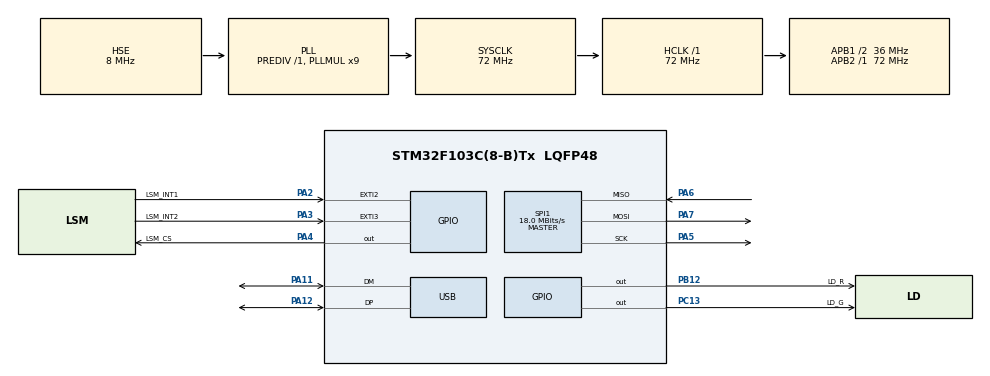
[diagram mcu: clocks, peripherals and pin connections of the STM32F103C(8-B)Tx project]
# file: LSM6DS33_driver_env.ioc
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Mcu.Family=STM32F1
Mcu.Name=STM32F103C(8-B)Tx
Mcu.Package=LQFP48
NVIC.EXTI2_IRQn=true\:0\:0\:false\:false\:true\:true
NVIC.EXTI3_IRQn=true\:0\:0\:false\:false\:true\:true
NVIC.PriorityGroup=NVIC_PRIORITYGROUP_4
NVIC.SPI1_IRQn=true\:0\:0\:false\:false\:true\:true
NVIC.USB_HP_CAN1_TX_IRQn=true\:0\:0\:false\:false\:true\:true
NVIC.USB_LP_CAN1_RX0_IRQn=true\:0\:0\:false\:false\:true\:false
PA11.Mode=Device
PA11.Signal=USB_DM
PA12.Mode=Device
PA12.Signal=USB_DP
PA13.Mode=Trace_Asynchronous_SW
PA13.Signal=SYS_JTMS-SWDIO
PA14.Mode=Trace_Asynchronous_SW
PA14.Signal=SYS_JTCK-SWCLK
PA2.GPIO_Label=LSM_INT1
PA2.Signal=GPXTI2
PA3.GPIO_Label=LSM_INT2
PA3.Signal=GPXTI3
PA4.GPIO_Label=LSM_CS
PA4.PinState=GPIO_PIN_SET
PA4.Signal=GPIO_Output
PA5.Mode=Full_Duplex_Master
PA5.Signal=SPI1_SCK
PA6.Mode=Full_Duplex_Master
PA6.Signal=SPI1_MISO
PA7.Mode=Full_Duplex_Master
PA7.Signal=SPI1_MOSI
PB12.GPIO_Label=LD_R
PB12.Signal=GPIO_Output
PB3.Mode=Trace_Asynchronous_SW
PB3.Signal=SYS_JTDO-TRACESWO
PC13-TAMPER-RTC.GPIO_Label=LD_G
PC13-TAMPER-RTC.Signal=GPIO_Output
PD0-OSC_IN.Mode=HSE-External-Oscillator
PD0-OSC_IN.Signal=RCC_OSC_IN
PD1-OSC_OUT.Mode=HSE-External-Oscillator
PD1-OSC_OUT.Signal=RCC_OSC_OUT
ProjectManager.HeapSize=0x200
ProjectManager.StackSize=0x400
ProjectManager.TargetToolchain=SW4STM32
RCC.AHBFreq_Value=72000000
RCC.APB1CLKDivider=RCC_HCLK_DIV2
RCC.APB1Freq_Value=36000000
RCC.APB1TimFreq_Value=72000000
RCC.APB2Freq_Value=72000000
RCC.APB2TimFreq_Value=72000000
RCC.HCLKFreq_Value=72000000
RCC.PLLMUL=RCC_PLL_MUL9
RCC.SYSCLKFreq_VALUE=72000000
RCC.SYSCLKSource=RCC_SYSCLKSOURCE_PLLCLK
RCC.USBFreq_Value=48000000
RCC.USBPrescaler=RCC_USBCLKSOURCE_PLL_DIV1_5
SPI1.BaudRatePrescaler=SPI_BAUDRATEPRESCALER_4
SPI1.CalculateBaudRate=18.0 MBits/s
SPI1.Direction=SPI_DIRECTION_2LINES
SPI1.Mode=SPI_MODE_MASTER
SPI1.VirtualType=VM_MASTER
USB_DEVICE.CLASS_NAME_FS=CDC
USB_DEVICE.VirtualMode=Cdc
USB_DEVICE.VirtualModeFS=Cdc_FS
VP_USB_DEVICE_VS_USB_DEVICE_CDC_FS.Mode=CDC_FS
board=LSM6DS33_driver_env

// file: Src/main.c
/**
 ******************************************************************************
 * @file           : main.c
 * @brief          : Main program body
 ******************************************************************************
 * This notice applies to any and all portions of this file
 * that are not between comment pairs USER CODE BEGIN and
 * USER CODE END. Other portions of this file, whether
 * inserted by the user or by software development tools
 * are owned by their respective copyright owners.
 *
 * Copyright (c) 2018 STMicroelectronics International N.V.
 * All rights reserved.
 *
 * Redistribution and use in source and binary forms, with or without
 * modification, are permitted, provided that the following conditions are met:
 *
 * 1. Redistribution of source code must retain the above copyright notice,
 *    this list of conditions and the following disclaimer.
 * 2. Redistributions in binary form must reproduce the above copyright notice,
 *    this list of conditions and the following disclaimer in the documentation
 *    and/or other materials provided with the distribution.
 * 3. Neither the name of STMicroelectronics nor the names of other
 *    contributors to this software may be used to endorse or promote products
 *    derived from this software without specific written permission.
 * 4. This software, including modifications and/or derivative works of this
 *    software, must execute solely and exclusively on microcontroller or
 *    microprocessor devices manufactured by or for STMicroelectronics.
 * 5. Redistribution and use of this software other than as permitted under
 *    this license is void and will automatically terminate your rights under
 *    this license.
 *
 * THIS SOFTWARE IS PROVIDED BY STMICROELECTRONICS AND CONTRIBUTORS "AS IS"
 * AND ANY EXPRESS, IMPLIED OR STATUTORY WARRANTIES, INCLUDING, BUT NOT
 * LIMITED TO, THE IMPLIED WARRANTIES OF MERCHANTABILITY, FITNESS FOR A
 * PARTICULAR PURPOSE AND NON-INFRINGEMENT OF THIRD PARTY INTELLECTUAL PROPERTY
 * RIGHTS ARE DISCLAIMED TO THE FULLEST EXTENT PERMITTED BY LAW. IN NO EVENT
 * SHALL STMICROELECTRONICS OR CONTRIBUTORS BE LIABLE FOR ANY DIRECT, INDIRECT,
 * INCIDENTAL, SPECIAL, EXEMPLARY, OR CONSEQUENTIAL DAMAGES (INCLUDING, BUT NOT
 * LIMITED TO, PROCUREMENT OF SUBSTITUTE GOODS OR SERVICES; LOSS OF USE, DATA,
 * OR PROFITS; OR BUSINESS INTERRUPTION) HOWEVER CAUSED AND ON ANY THEORY OF
 * LIABILITY, WHETHER IN CONTRACT, STRICT LIABILITY, OR TORT (INCLUDING
 * NEGLIGENCE OR OTHERWISE) ARISING IN ANY WAY OUT OF THE USE OF THIS SOFTWARE,
 * EVEN IF ADVISED OF THE POSSIBILITY OF SUCH DAMAGE.
 *
 ******************************************************************************
 */
#include "main.h"
#include "stm32f1xx_hal.h"
#include "spi.h"
#include "usb_device.h"
#include "gpio.h"

/* USER CODE BEGIN Includes */
#include "lsmDriver.h"

/* USER CODE END Includes */

/* USER CODE BEGIN PV */
/* Private variables ---------------------------------------------------------*/
LSM_HandleTypeDef hlsm1;
/* USER CODE END PV */

void SystemClock_Config(void);

/* USER CODE BEGIN PFP */
/* Private function prototypes -----------------------------------------------*/
void HAL_GPIO_EXTI_Callback(uint16_t GPIO_Pin) {
	if (GPIO_Pin == LSM_INT1_Pin) {
		LSM_INT1fromISR(&hlsm1);
	}
	if (GPIO_Pin == LSM_INT2_Pin) {
		LSM_INT2fromISR(&hlsm1);
	}
}

uint8_t LSM_Setup() {

	hlsm1.Init.hspi = &hspi1;
	hlsm1.Init.CS_Port = LSM_CS_GPIO_Port;
	hlsm1.Init.CS_Pin = LSM_CS_Pin;
	hlsm1.Init.CTRL1_XL = XL_ODR_26HZ | XL_FS_8G;
	hlsm1.Init.CTRL2_G = G_ODR_52HZ | G_FS_500DPS;
	hlsm1.Init.INT1_CTRL = INT1_DRDY_XL;

	return LSM_Init(&hlsm1);
}
/* USER CODE END PFP */

int main(void) {
	/* USER CODE BEGIN 1 */
	uint8_t message[200];
	uint8_t messageLength, lsmCode, counter;
	int32_t XYZ[6];
	uint32_t interval = 0, prev = 0, current = 0;

	/* USER CODE END 1 */

	/* MCU Configuration----------------------------------------------------------*/

	/* Reset of all peripherals, Initializes the Flash interface and the Systick. */
	HAL_Init();

	/* Configure the system clock */
	SystemClock_Config();

	/* Initialize all configured peripherals */
	MX_GPIO_Init();
	MX_USB_DEVICE_Init();
	MX_SPI1_Init();
	/* USER CODE BEGIN 2 */
	HAL_Delay(200);
	messageLength = sprintf((char *) message, "Starting...\r\n");
	CDC_Transmit_FS(message, messageLength);

	if ((lsmCode = LSM_Setup()) != LSM_OK) {
		for (;;) {
			messageLength = sprintf((char *) message,
					"Init error, code: %d retry in 5s..\r\n", lsmCode);
			CDC_Transmit_FS(message, messageLength);
			HAL_Delay(5000);
			if ((lsmCode = LSM_Setup()) == LSM_OK) {
				break;
			}
		}
	}
	messageLength = sprintf((char *) message, "LSM initialized..\r\n");
	CDC_Transmit_FS(message, messageLength);
	/* USER CODE END 2 */

	/* Infinite loop */
	while (1) {

		/* USER CODE BEGIN 3 */
		if (LSM_isDataReady(&hlsm1)) {

			if (LSM_GetData(&hlsm1, XYZ) != LSM_OK) {
				messageLength = sprintf((char *) message, "Error, code: %d\r\n",
						lsmCode);
				CDC_Transmit_FS(message, messageLength);
				continue;
			}

			current = HAL_GetTick();
			interval = current - prev;
			prev = current;

			messageLength = sprintf((char *) message,
					"%ld %ld %ld %ld %ld %ld %ld\r\n", XYZ[0], XYZ[1], XYZ[2],
					XYZ[3], XYZ[4], XYZ[5], interval);
			CDC_Transmit_FS(message, messageLength);

			HAL_GPIO_TogglePin(LD_G_GPIO_Port, LD_G_Pin);
		} else {
			HAL_Delay(5);
			if (++counter >= 10) {
				counter = 0;
				if ((lsmCode = LSM_Init(&hlsm1)) != LSM_OK) {
					messageLength = sprintf((char *) message,
							"Init error, code: %d\r\n", lsmCode);
					CDC_Transmit_FS(message, messageLength);
					_Error_Handler(__FILE__, __LINE__);
				}
			}
		}

	}
	/* USER CODE END 3 */

}

void SystemClock_Config(void) {

	RCC_OscInitTypeDef RCC_OscInitStruct;
	RCC_ClkInitTypeDef RCC_ClkInitStruct;
	RCC_PeriphCLKInitTypeDef PeriphClkInit;

	/**Initializes the CPU, AHB and APB busses clocks
	 */
	RCC_OscInitStruct.OscillatorType = RCC_OSCILLATORTYPE_HSE;
	RCC_OscInitStruct.HSEState = RCC_HSE_ON;
	RCC_OscInitStruct.HSEPredivValue = RCC_HSE_PREDIV_DIV1;
	RCC_OscInitStruct.HSIState = RCC_HSI_ON;
	RCC_OscInitStruct.PLL.PLLState = RCC_PLL_ON;
	RCC_OscInitStruct.PLL.PLLSource = RCC_PLLSOURCE_HSE;
	RCC_OscInitStruct.PLL.PLLMUL = RCC_PLL_MUL9;
	if (HAL_RCC_OscConfig(&RCC_OscInitStruct) != HAL_OK) {
		_Error_Handler(__FILE__, __LINE__);
	}

	/**Initializes the CPU, AHB and APB busses clocks
	 */
	RCC_ClkInitStruct.ClockType = RCC_CLOCKTYPE_HCLK | RCC_CLOCKTYPE_SYSCLK
			| RCC_CLOCKTYPE_PCLK1 | RCC_CLOCKTYPE_PCLK2;
	RCC_ClkInitStruct.SYSCLKSource = RCC_SYSCLKSOURCE_PLLCLK;
	RCC_ClkInitStruct.AHBCLKDivider = RCC_SYSCLK_DIV1;
	RCC_ClkInitStruct.APB1CLKDivider = RCC_HCLK_DIV2;
	RCC_ClkInitStruct.APB2CLKDivider = RCC_HCLK_DIV1;

	if (HAL_RCC_ClockConfig(&RCC_ClkInitStruct, FLASH_LATENCY_2) != HAL_OK) {
		_Error_Handler(__FILE__, __LINE__);
	}

	PeriphClkInit.PeriphClockSelection = RCC_PERIPHCLK_USB;
	PeriphClkInit.UsbClockSelection = RCC_USBCLKSOURCE_PLL_DIV1_5;
	if (HAL_RCCEx_PeriphCLKConfig(&PeriphClkInit) != HAL_OK) {
		_Error_Handler(__FILE__, __LINE__);
	}

	/**Configure the Systick interrupt time
	 */
	HAL_SYSTICK_Config(HAL_RCC_GetHCLKFreq() / 1000);

	/**Configure the Systick
	 */
	HAL_SYSTICK_CLKSourceConfig(SYSTICK_CLKSOURCE_HCLK);

	/* SysTick_IRQn interrupt configuration */
	HAL_NVIC_SetPriority(SysTick_IRQn, 0, 0);
}

void _Error_Handler(char *file, int line) {
	/* USER CODE BEGIN Error_Handler_Debug */
	HAL_NVIC_SystemReset();
	/* User can add his own implementation to report the HAL error return state */
	while (1) {
	}
	/* USER CODE END Error_Handler_Debug */
}

/************************ (C) COPYRIGHT STMicroelectronics *****END OF FILE****/
